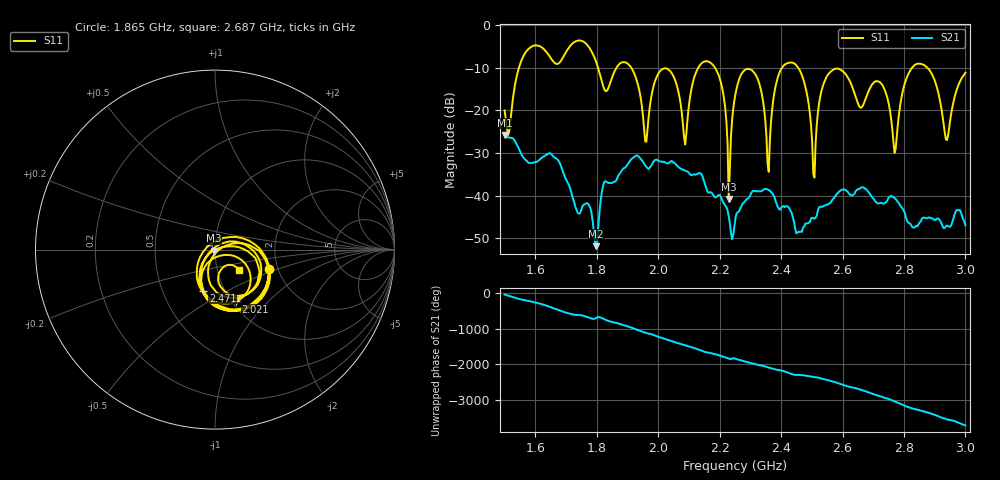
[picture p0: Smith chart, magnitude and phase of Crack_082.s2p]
# HZ S RI R 50
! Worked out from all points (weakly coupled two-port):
!   404 points, 1.5 GHz to 3 GHz, reference 50 ohm
!   highest |S21| = -25.74 dB at 1.5 GHz (marker M1); lowest = -51.8 dB at 1.798 GHz (marker M2)
!   lowest |S11| = -40.7 dB at 2.23 GHz (marker M3), VSWR 1.02, Z = 49.2 - j0.494 ohm
!   |S11| at or under -10 dB: 1.912 GHz to 2.13 GHz (217.8 MHz wide, 10.8 % of centre); 2.185 GHz to 2.403 GHz (218 MHz wide, 9.5 % of centre); 2.456 GHz to 2.826 GHz (370.3 MHz wide, 14 % of centre) (the widest 3 of 6)
!   S12 and S22 are empty: the file has one direction only
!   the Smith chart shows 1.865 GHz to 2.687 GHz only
!   S11 on the Smith chart (normalised r, x): 1.865 GHz: 1.80, -0.42; 2.021 GHz: 1.05, -0.67; 2.471 GHz: 0.80, -0.39; 2.687 GHz: 1.27, -0.30
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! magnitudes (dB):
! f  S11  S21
! 1.5 GHz  -20.0  -25.7
! 1.753 GHz  -3.7  -42.5
! 1.798 GHz  -8.6  -51.8
! 1.865 GHz  -9.9  -36.2
! 1.962 GHz  -27.3  -33.2
! 2.002 GHz  -11.1  -31.8
! 2.021 GHz  -10.1  -32.1
! 2.088 GHz  -28.0  -34.1
! 2.181 GHz  -9.6  -40.0
! 2.23 GHz  -40.7  -44.7
! 2.252 GHz  -16.0  -45.1
! 2.315 GHz  -11.4  -39.0
! 2.36 GHz  -34.4  -38.7
! 2.401 GHz  -10.2  -42.7
! 2.471 GHz  -12.5  -47.4
! 2.501 GHz  -27.5  -45.2
! 2.561 GHz  -10.9  -41.7
! 2.687 GHz  -15.1  -39.4
! 2.751 GHz  -18.5  -40.4
! 2.862 GHz  -9.3  -45.2
! 2.94 GHz  -26.9  -47.0
! 3 GHz  -11.2  -46.9
